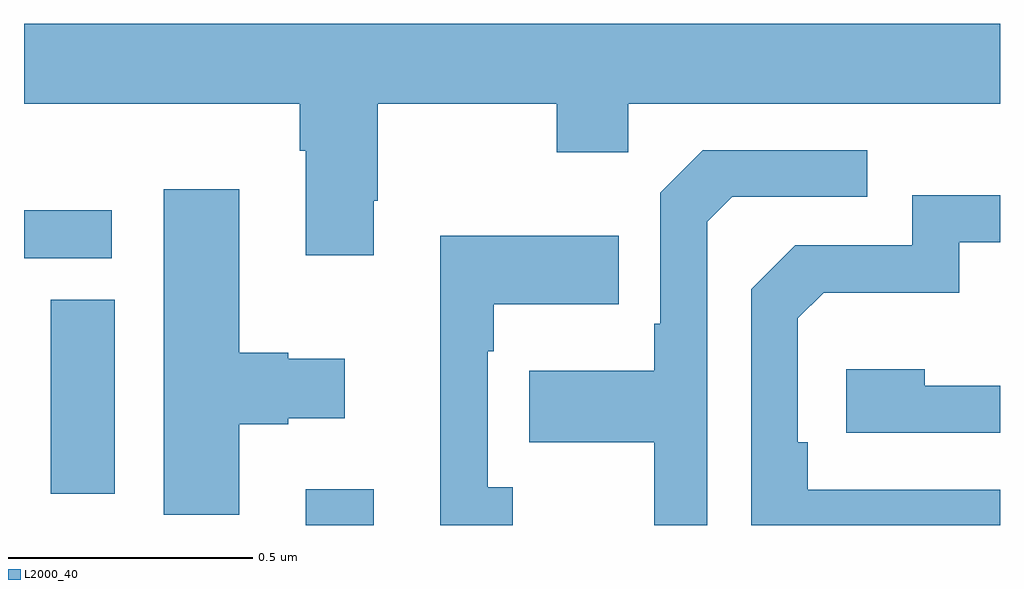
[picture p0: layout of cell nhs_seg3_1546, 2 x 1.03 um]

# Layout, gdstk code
import gdstk
lib = gdstk.Library(unit=1e-6, precision=1e-09)
def R(c, l, rs):  # rectangles x0, y0, x1, y1
    for r in rs: c.add(gdstk.rectangle(r[:2], r[2:], *l))
def P(c, l, *ps):  # polygons
    for p in ps: c.add(gdstk.Polygon(p, *l))
L2000_40 = (2000, 40)

nhs_seg3_1546 = lib.new_cell('nhs_seg3_1546')
R(nhs_seg3_1546, L2000_40, [(130.577,685.4,130.717,685.474), (130.055,685.465,130.186,685.862), (130,685.947,130.18,686.046)])
P(nhs_seg3_1546, L2000_40, [(130.717,686.065),(130.725,686.065),(130.725,686.264),(131.092,686.264),(131.092,686.165),(131.238,686.165),(131.238,686.264),(132,686.264),(132,686.428),(130,686.428),(130,686.264),(130.565,686.264),(130.565,686.168),(130.577,686.168),(130.577,685.953),(130.717,685.953)],
  [(131.4,686.022),(131.451,686.073),(131.728,686.073),(131.728,686.169),(131.391,686.169),(131.304,686.082),(131.304,685.813),(131.292,685.813),(131.292,685.717),(131.035,685.717),(131.035,685.57),(131.292,685.57),(131.292,685.4),(131.4,685.4)],
  [(130.441,685.607),(130.541,685.607),(130.541,685.619),(130.657,685.619),(130.657,685.741),(130.541,685.741),(130.541,685.754),(130.441,685.754),(130.441,686.089),(130.286,686.089),(130.286,685.422),(130.441,685.422)],
  [(132,685.473),(131.606,685.473),(131.606,685.57),(131.586,685.57),(131.586,685.824),(131.639,685.877),(131.916,685.877),(131.916,685.98),(132,685.98),(132,686.076),(131.82,686.076),(131.82,685.974),(131.58,685.974),(131.49,685.884),(131.49,685.4),(132,685.4)],
  [(131.002,685.478),(130.95,685.478),(130.95,685.757),(130.963,685.757),(130.963,685.853),(131.219,685.853),(131.219,685.993),(130.853,685.993),(130.853,685.4),(131.002,685.4)],
  [(132,685.686),(131.846,685.686),(131.846,685.72),(131.685,685.72),(131.685,685.59),(132,685.59)])

lib.write_gds('nhs_seg3_1546.gds')
